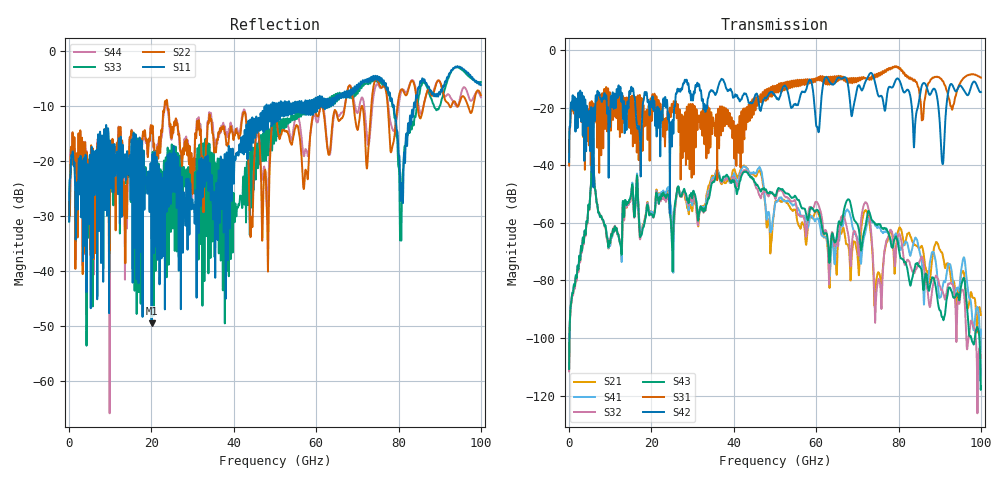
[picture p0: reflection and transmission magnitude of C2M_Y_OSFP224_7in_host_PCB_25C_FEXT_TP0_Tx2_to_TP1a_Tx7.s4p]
# GHz S RI R 45
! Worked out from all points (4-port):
!   4000 points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, 25 MHz to 100 GHz, reference 45 ohm
!   strongest paths, dB at 25 MHz, 25.02 GHz, 50.02 GHz, 75.03 GHz, 100 GHz:
!     S42: -38.8, -30.3, -16.0, -15.6, -14.6
!     S31: -40.1, -19.1, -12.5, -8.7, -9.6
!     S43: -110.7, -68.5, -50.7, -60.5, -116.8
!     S32: -111.6, -63.4, -51.6, -79.9, -107.0
!     S41: -110.4, -59.0, -53.6, -61.5, -97.1
!     S21: -111.0, -58.4, -53.2, -77.3, -92.0
!   lowest |S11| = -49.5 dB at 20.05 GHz (marker M1), VSWR 1.01, Z = 45 - j0.301 ohm
!   |S11| at or under -10 dB: start of sweep to 47.92 GHz; 48.01 GHz to 48.43 GHz (417.6 MHz wide, 0.866 % of centre); 78.85 GHz to 83.71 GHz (4.86 GHz wide, 5.98 % of centre) (the widest 3 of 36)
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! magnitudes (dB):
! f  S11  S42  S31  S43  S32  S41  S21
! 25 MHz  -31.0  -38.8  -40.1  -110.7  -111.6  -110.4  -111.0
! 5.725 GHz  -37.7  -20.3  -34.2  -42.4  -42.6  -42.4  -42.6
! 20.05 GHz  -49.5  -19.7  -24.7  -57.0  -57.3  -56.2  -56.4
! 46.2 GHz  -14.2  -20.0  -17.7  -48.1  -50.4  -40.7  -41.8
! 86.25 GHz  -5.2  -11.5  -18.0  -81.4  -76.2  -86.7  -72.5
! 90.67 GHz  -7.0  -39.5  -10.7  -92.7  -83.5  -82.3  -70.8
! 100 GHz  -6.2  -14.6  -9.6  -116.8  -107.0  -97.1  -92.0
